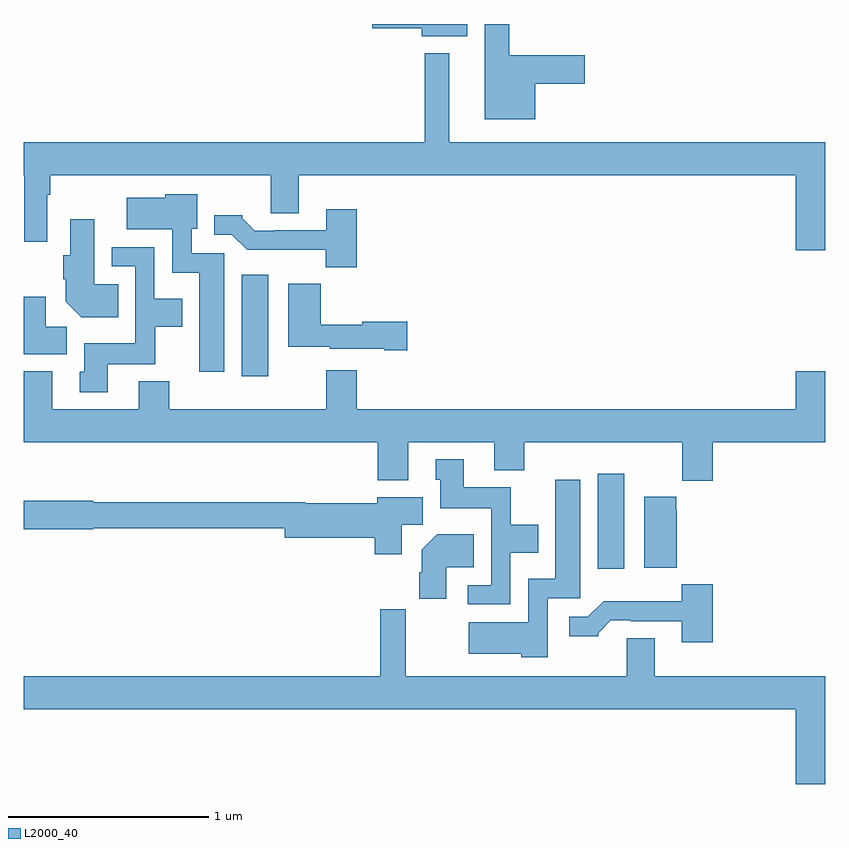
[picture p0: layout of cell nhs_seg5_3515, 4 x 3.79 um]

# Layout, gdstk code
import gdstk
lib = gdstk.Library(unit=1e-6, precision=1e-09)
def R(c, l, rs):  # rectangles x0, y0, x1, y1
    for r in rs: c.add(gdstk.rectangle(r[:2], r[2:], *l))
def P(c, l, *ps):  # polygons
    for p in ps: c.add(gdstk.Polygon(p, *l))
L2000_40 = (2000, 40)

nhs_seg5_3515 = lib.new_cell('nhs_seg5_3515')
R(nhs_seg5_3515, L2000_40, [(319.865,904.08,319.996,904.555), (318.089,905.04,318.22,905.548)])
P(nhs_seg5_3515, L2000_40, [(319.213,906.799),(318.738,906.799),(318.738,906.779),(318.986,906.779),(318.986,906.737),(319.213,906.737)],
  [(319.552,906.502),(319.801,906.502),(319.801,906.644),(319.423,906.644),(319.423,906.799),(319.301,906.799),(319.301,906.323),(319.552,906.323)],
  [(321,906.208),(319.123,906.208),(319.123,906.652),(319.002,906.652),(319.002,906.208),(317,906.208),(317,906.044),(317.002,906.044),(317.002,905.712),(317.118,905.712),(317.118,905.948),(317.131,905.948),(317.131,906.044),(318.233,906.044),(318.233,905.854),(318.373,905.854),(318.373,906.044),(320.852,906.044),(320.852,905.67),(321,905.67)],
  [(318.001,905.655),(317.838,905.655),(317.838,905.778),(317.866,905.778),(317.866,905.95),(317.706,905.95),(317.706,905.932),(317.514,905.932),(317.514,905.774),(317.742,905.774),(317.742,905.558),(317.876,905.558),(317.876,905.064),(318.001,905.064)],
  [(318.662,905.875),(318.509,905.875),(318.509,905.769),(318.253,905.769),(318.253,905.766),(318.154,905.766),(318.09,905.83),(318.09,905.845),(317.951,905.845),(317.951,905.748),(318.039,905.748),(318.115,905.672),(318.507,905.672),(318.507,905.585),(318.662,905.585)],
  [(317.471,905.5),(317.353,905.5),(317.353,905.824),(317.231,905.824),(317.231,905.646),(317.198,905.646),(317.198,905.524),(317.21,905.524),(317.21,905.414),(317.288,905.336),(317.471,905.336)],
  [(317.419,905.102),(317.655,905.102),(317.655,905.288),(317.791,905.288),(317.791,905.428),(317.652,905.428),(317.652,905.685),(317.439,905.685),(317.439,905.589),(317.556,905.589),(317.556,905.206),(317.303,905.206),(317.303,905.064),(317.279,905.064),(317.279,904.962),(317.419,904.962)],
  [(318.913,905.312),(318.69,905.312),(318.69,905.299),(318.482,905.299),(318.482,905.503),(318.32,905.503),(318.32,905.189),(318.528,905.189),(318.528,905.177),(318.8,905.177),(318.8,905.17),(318.913,905.17)],
  [(317.215,905.288),(317.11,905.288),(317.11,905.437),(317,905.437),(317,905.15),(317.215,905.15)],
  [(320.438,904.712),(321,904.712),(321,905.065),(320.852,905.065),(320.852,904.876),(318.662,904.876),(318.662,905.071),(318.509,905.071),(318.509,904.876),(317.726,904.876),(317.726,905.017),(317.573,905.017),(317.573,904.876),(317.143,904.876),(317.143,905.065),(317,905.065),(317,904.712),(318.767,904.712),(318.767,904.523),(318.919,904.523),(318.919,904.712),(319.349,904.712),(319.349,904.571),(319.497,904.571),(319.497,904.712),(320.287,904.712),(320.287,904.519),(320.438,904.519)],
  [(319.428,904.16),(319.567,904.16),(319.567,904.3),(319.431,904.3),(319.431,904.486),(319.195,904.486),(319.195,904.627),(319.055,904.627),(319.055,904.524),(319.079,904.524),(319.079,904.382),(319.332,904.382),(319.332,903.999),(319.215,903.999),(319.215,903.903),(319.428,903.903)],
  [(319.614,903.933),(319.777,903.933),(319.777,904.525),(319.652,904.525),(319.652,904.03),(319.518,904.03),(319.518,903.814),(319.221,903.814),(319.221,903.656),(319.482,903.656),(319.482,903.638),(319.614,903.638)],
  [(320.258,904.233),(320.26,904.233),(320.26,904.374),(320.257,904.374),(320.257,904.439),(320.096,904.439),(320.096,904.085),(320.258,904.085)],
  [(318.886,904.3),(318.991,904.3),(318.991,904.438),(318.764,904.438),(318.764,904.407),(318.406,904.407),(318.406,904.411),(317.346,904.411),(317.346,904.419),(317,904.419),(317,904.277),(317.346,904.277),(317.346,904.282),(318.302,904.282),(318.302,904.235),(318.752,904.235),(318.752,904.152),(318.886,904.152)],
  [(319.108,904.088),(319.247,904.088),(319.247,904.252),(319.064,904.252),(318.986,904.174),(318.986,904.064),(318.974,904.064),(318.974,903.93),(319.108,903.93)],
  [(320.438,904.003),(320.283,904.003),(320.283,903.919),(319.894,903.919),(319.815,903.84),(319.722,903.84),(319.722,903.743),(319.866,903.743),(319.866,903.758),(319.93,903.822),(320.029,903.822),(320.029,903.819),(320.285,903.819),(320.285,903.714),(320.438,903.714)],
  [(321,903.544),(320.149,903.544),(320.149,903.734),(320.009,903.734),(320.009,903.544),(318.907,903.544),(318.907,903.877),(318.778,903.877),(318.778,903.544),(317,903.544),(317,903.38),(320.852,903.38),(320.852,903.006),(321,903.006)])

lib.write_gds('nhs_seg5_3515.gds')
